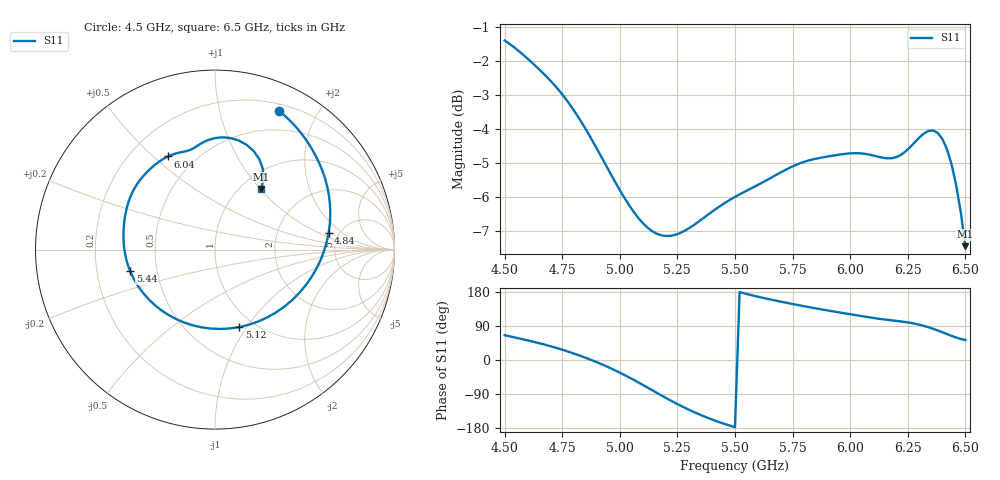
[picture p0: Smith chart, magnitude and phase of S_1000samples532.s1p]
! TOUCHSTONE file generated by CST MICROWAVE STUDIO
! Date and time: Fri Oct 28 12:00:45 2022
! Project name: L.cst
! Parameters = {Di=1.27; Epsilon_r=1.56; InnerDiameter=1.27; Length=2; Lf=10; Lg=60; OuterConductorThickness=0.2921; OuterDiameter=3.6; Wf=3; Wp=41.2; de=1.5; df=6.8; g=0.8; gx=4.14183; gy=1.19934; h=2.34; hf=1.524; px=14.0512; py=11.573; w=9.7; wx=9.9094; wy=10.3736}
! Header version: 2018
! Port assignment regex: !\s*Touchstone port\s*([0-9]+)\s*=\s*(CST MWS port|CST DS port)\s*([0-9]+|Zmin|Zmax)\s*\(\"(.*)\"\)(\s*mode\s*([0-9]+))?.*
! Touchstone port assignment:
! Touchstone port 1 = CST MWS port 1 ("")
# GHz S DB R 50
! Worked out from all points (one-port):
!   101 points, 4.5 GHz to 6.5 GHz, reference 50 ohm
!   lowest |S11| = -7.4 dB at 6.5 GHz (marker M1), VSWR 2.48, Z = 61.6 + j50.8 ohm
!   |S11| at or under -10 dB: nowhere
!   S11 on the Smith chart (normalised r, x): 4.5 GHz: 0.27, +1.53; 4.84 GHz: 4.12, +1.32; 5.12 GHz: 0.85, -0.92; 5.44 GHz: 0.35, -0.11; 6.04 GHz: 0.36, +0.56; 6.5 GHz: 1.23, +1.02
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4.5  -1.40 65.3
4.56  -1.70 57.3
4.64  -2.19 45.9
4.76  -3.07 25.2
4.84  -3.87 8.5
4.92  -4.82 -10.9
5  -5.79 -33.4
5.06  -6.43 -52.3
5.12  -6.89 -72.6
5.18  -7.12 -93.3
5.26  -7.06 -119.4
5.34  -6.73 -142.2
5.44  -6.24 -165.7
5.5  -5.99 -177.3
5.62  -5.57 164.2
5.76  -5.07 146.6
5.88  -4.83 133.0
6  -4.72 120.8
6.04  -4.71 116.8
6.18  -4.86 104.6
6.26  -4.53 98.2
6.3  -4.25 93.2
6.34  -4.06 86.4
6.38  -4.12 77.9
6.4  -4.29 73.2
6.44  -5.04 63.7
6.48  -6.45 55.4
6.5  -7.44 52.7
